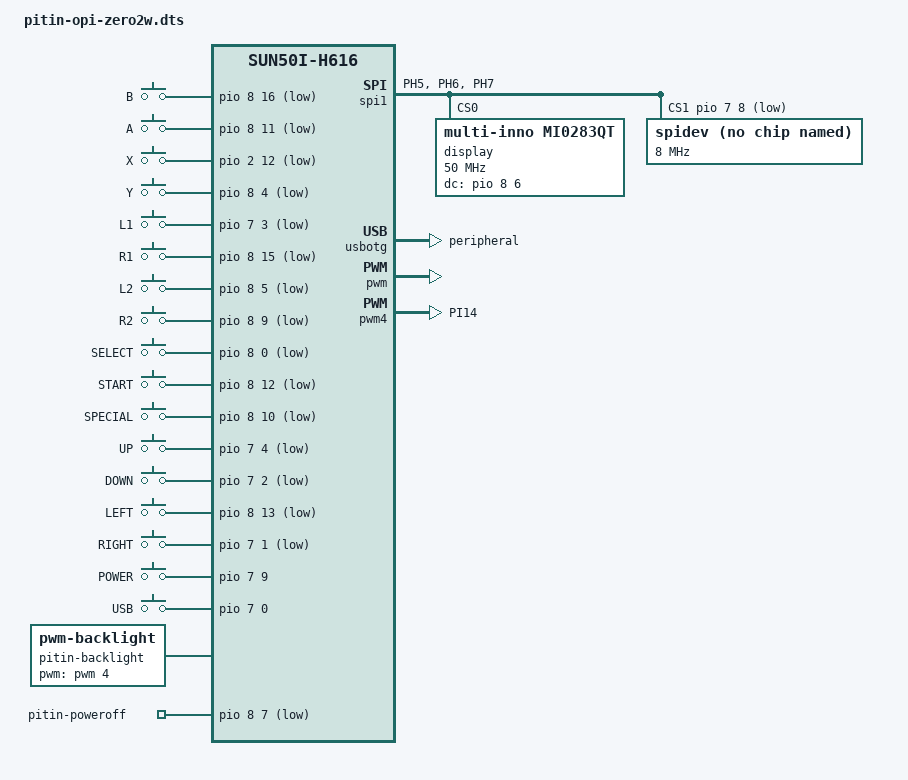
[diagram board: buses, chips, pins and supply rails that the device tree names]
// Pi Tin mod on an Orange Pi Zero 2W (Allwinner H618), Armbian "current" sunxi kernel.
// Device-tree overlay: display, backlight PWM, LED gate, I2S amplifier, buttons, power button,
// power-off and USB cable detect. install.sh compiles it and adds it to the user overlays.
// Needs the Armbian sunxi kernel: its AHUB audio and H616 PWM drivers are not in mainline.
//
// Header pin -> H618 pin (Orange Pi wiringOP table) -> use on the Pi Tin board:
//   5  PI7   power-off output (SHUTDOWN_PS)   16 PI14 backlight (RS/BL), PWM4
//   8  PH0   USB cable detect (USB_PWR)       19 PH7  SPI1 MOSI
//  12  PI1   I2S0 BCLK                        21 PH8  LED gate (LED_CS), SPI1 chip select 1 as GPIO
//  22  PI6   display D/C                      23 PH6  SPI1 CLK
//  24  PH5   SPI1 CS0 (display)               26 PH9  power button (SHUTDOWN_PI)
//  35  PI2   I2S0 LRCK                        40 PI3  I2S0 DOUT0 -> MAX98357A
//  Buttons: 7 LEFT PI13, 10 RIGHT PH1, 11 DOWN PH2, 13 L1 PH3, 15 L2 PI5, 18 UP PH4,
//  27 SPECIAL PI10, 28 R2 PI9, 29 SELECT PI0, 31 R1 PI15, 32 A PI11, 33 START PI12,
//  36 X PC12, 37 B PI16, 38 Y PI4. All pull to GND when pressed (no external pull-ups).
//  Pins 16 and 18 are swapped on this board (upstream: 16 UP, 18 backlight) so the
//  backlight gets a hardware PWM. The shoulder nets are named as seen from the back of
//  the PCB: net R1 (pin 13) is the left shoulder, as in the upstream GPIOnext config.
//
// GPIO specifiers are <&pio bank pin flags>: bank C=2, H=7, I=8; flags 0 = active high, 1 = active low.

/dts-v1/;
/plugin/;

/ {
	compatible = "allwinner,sun50i-h616";

	fragment@0 {
		target = <&pio>;
		__overlay__ {
			pitin_spi1_pins: pitin-spi1-pins {
				pins = "PH5", "PH6", "PH7";	/* CS0, CLK, MOSI. PH8 (MISO) is not muxed: it is the LED gate. */
				function = "spi1";
			};

			pitin_i2s0_pins: pitin-i2s0-pins {
				pins = "PI1", "PI2";		/* BCLK, LRCK. PI0 (MCLK) and PI4 (DIN) are buttons. */
				function = "i2s0";
				drive-strength = <20>;
				bias-disable;
			};

			pitin_i2s0_dout_pin: pitin-i2s0-dout-pin {
				pins = "PI3";
				function = "i2s0_dout0";
				drive-strength = <20>;
				bias-disable;
			};

			pitin_i2s0_sleep_pins: pitin-i2s0-sleep-pins {
				pins = "PI1", "PI2", "PI3";
				function = "gpio_in";
				bias-disable;
			};

			pitin_button_pins: pitin-button-pins {
				pins = "PI13", "PH1", "PH2", "PH3", "PI5", "PH4", "PI10", "PI9",
				       "PI0", "PI15", "PI11", "PI12", "PC12", "PI16", "PI4";
				function = "gpio_in";
				bias-pull-up;
			};

			pitin_pwm4_pin: pitin-pwm4-pin {
				pins = "PI14";			/* backlight MOSFET gate on the display board */
				function = "pwm4";
			};

			pitin_power_pin: pitin-power-pin {
				pins = "PH9";			/* held low by the board while running, released when the button is pressed */
				function = "gpio_in";
				bias-pull-up;
			};

			pitin_usbdet_pin: pitin-usbdet-pin {
				pins = "PH0";			/* VBUS / 2 from R133/R134 */
				function = "gpio_in";
				bias-disable;
			};
		};
	};

	/* UART0 (pins 8/10) is the debug console on this board; the Pi Tin uses those pins
	 * for USB detect and the RIGHT button. */
	fragment@1 {
		target = <&uart0>;
		__overlay__ {
			status = "disabled";
		};
	};

	fragment@2 {
		target = <&spi1>;
		__overlay__ {
			#address-cells = <1>;
			#size-cells = <0>;
			pinctrl-names = "default";
			pinctrl-0 = <&pitin_spi1_pins>;
			cs-gpios = <0>, <&pio 7 8 1>;	/* CS0 native (PH5), CS1 = PH8 as GPIO, active low */
			status = "okay";

			display@0 {
				compatible = "multi-inno,mi0283qt";	/* the panel of the Adafruit 1774 (ILI9341) */
				reg = <0>;
				spi-max-frequency = <50000000>;
				dc-gpios = <&pio 8 6 0>;		/* PI6, pin 22 */
				rotation = <90>;			/* use 270 if the picture is upside down */
			};

			/* LED chain: the 74AHCT1G125 passes MOSI only while CS1 (PH8) is low.
			 * /dev/spidevN.1 is used by pitin_leds.py. */
			spidev@1 {
				compatible = "rohm,dh2228fv";
				reg = <1>;
				spi-max-frequency = <8000000>;
			};
		};
	};

	/* USB-C OTG port (USB0): device mode, for the USB-drive mode. */
	fragment@3 {
		target = <&usbotg>;
		__overlay__ {
			dr_mode = "peripheral";
			status = "okay";
		};
	};

	fragment@4 {
		target-path = "/";
		__overlay__ {
			pitin-gamepad {
				compatible = "gpio-keys";
				label = "Pi Tin Gamepad";
				pinctrl-names = "default";
				pinctrl-0 = <&pitin_button_pins>;

				/* Gamepad codes, so the console (tty) never sees them as typing.
				 * RetroArch numbers them in this order: B 0, A 1, X 2, Y 3, L1 4, R1 5,
				 * L2 6, R2 7, SELECT 8, START 9, SPECIAL 10, UP 11, DOWN 12, LEFT 13, RIGHT 14. */
				b      { label = "B";       gpios = <&pio 8 16 1>; linux,code = <304>; debounce-interval = <10>; }; /* BTN_SOUTH, pin 37 */
				a      { label = "A";       gpios = <&pio 8 11 1>; linux,code = <305>; debounce-interval = <10>; }; /* BTN_EAST, pin 32 */
				x      { label = "X";       gpios = <&pio 2 12 1>; linux,code = <307>; debounce-interval = <10>; }; /* BTN_NORTH, pin 36 */
				y      { label = "Y";       gpios = <&pio 8 4 1>;  linux,code = <308>; debounce-interval = <10>; }; /* BTN_WEST, pin 38 */
				l1     { label = "L1";      gpios = <&pio 7 3 1>;  linux,code = <310>; debounce-interval = <10>; }; /* BTN_TL, pin 13 */
				r1     { label = "R1";      gpios = <&pio 8 15 1>; linux,code = <311>; debounce-interval = <10>; }; /* BTN_TR, pin 31 */
				l2     { label = "L2";      gpios = <&pio 8 5 1>;  linux,code = <312>; debounce-interval = <10>; }; /* BTN_TL2, pin 15 */
				r2     { label = "R2";      gpios = <&pio 8 9 1>;  linux,code = <313>; debounce-interval = <10>; }; /* BTN_TR2, pin 28 */
				select { label = "SELECT";  gpios = <&pio 8 0 1>;  linux,code = <314>; debounce-interval = <10>; }; /* BTN_SELECT, pin 29 */
				start  { label = "START";   gpios = <&pio 8 12 1>; linux,code = <315>; debounce-interval = <10>; }; /* BTN_START, pin 33 */
				special { label = "SPECIAL"; gpios = <&pio 8 10 1>; linux,code = <316>; debounce-interval = <10>; }; /* BTN_MODE, pin 27 */
				up     { label = "UP";      gpios = <&pio 7 4 1>;  linux,code = <544>; debounce-interval = <10>; }; /* BTN_DPAD_UP, pin 18 */
				down   { label = "DOWN";    gpios = <&pio 7 2 1>;  linux,code = <545>; debounce-interval = <10>; }; /* BTN_DPAD_DOWN, pin 11 */
				left   { label = "LEFT";    gpios = <&pio 8 13 1>; linux,code = <546>; debounce-interval = <10>; }; /* BTN_DPAD_LEFT, pin 7 */
				right  { label = "RIGHT";   gpios = <&pio 7 1 1>;  linux,code = <547>; debounce-interval = <10>; }; /* BTN_DPAD_RIGHT, pin 10 */
			};

			pitin-system {
				compatible = "gpio-keys";
				label = "Pi Tin System";
				pinctrl-names = "default";
				pinctrl-0 = <&pitin_power_pin>, <&pitin_usbdet_pin>;

				power {
					label = "POWER";
					gpios = <&pio 7 9 0>;		/* PH9, pin 26, active high */
					linux,code = <116>;		/* KEY_POWER: systemd-logind powers off */
					debounce-interval = <100>;
				};

				usb-detect {
					label = "USB";
					gpios = <&pio 7 0 0>;		/* PH0, pin 8, high while a USB cable is plugged in */
					linux,input-type = <5>;		/* EV_SW */
					linux,code = <6>;		/* SW_USB_INSERT, read by pitin-usbd */
					debounce-interval = <100>;
				};
			};

			/* Screen backlight: /sys/class/backlight/pitin-backlight, set by pitin-daemon.
			 * 20 kHz; without a brightness-levels table the kernel uses a perceptual curve. */
			pitin-backlight {
				compatible = "pwm-backlight";
				pwms = <&pwm 4 50000 0>;
			};

			/* Pin 5 low cuts the Pi Tin's power latch (same as gpio-poweroff on the Pi).
			 * Priority above the firmware (PSCI) handler, so it runs first. */
			pitin-poweroff {
				compatible = "gpio-poweroff";
				gpios = <&pio 8 7 1>;			/* PI7, active low */
				priority = <255>;
			};
		};
	};

	/* I2S0 -> MAX98357A, through the AHUB audio driver of the Armbian kernel. Based on the
	 * overlays reported working on this board on the DietPi forum. */
	fragment@5 {
		target-path = "/soc";
		__overlay__ {
			pitin_ahub_plat: pitin-ahub-plat {
				#sound-dai-cells = <0>;
				compatible = "allwinner,sunxi-snd-plat-ahub";
				apb_num = <0>;
				dmas = <&dma 3>, <&dma 3>;
				dma-names = "tx", "rx";
				playback_cma = <128>;
				capture_cma = <128>;
				tx_fifo_size = <128>;
				rx_fifo_size = <128>;
				tdm_num = <0>;
				tx_pin = <0>;
				rx_pin = <0>;
				pinctrl-names = "default", "sleep";
				pinctrl_used;
				pinctrl-0 = <&pitin_i2s0_pins>, <&pitin_i2s0_dout_pin>;
				pinctrl-1 = <&pitin_i2s0_sleep_pins>;
				status = "okay";
			};

			pitin-ahub-mach {
				compatible = "allwinner,sunxi-snd-mach";
				soundcard-mach,name = "pitin";
				soundcard-mach,format = "i2s";
				soundcard-mach,frame-master = <&pitin_ahub_cpu>;
				soundcard-mach,bitclock-master = <&pitin_ahub_cpu>;
				soundcard-mach,slot-num = <2>;
				soundcard-mach,slot-width = <32>;
				status = "okay";

				pitin_ahub_cpu: soundcard-mach,cpu {
					sound-dai = <&pitin_ahub_plat>;
					soundcard-mach,pll-fs = <4>;
					soundcard-mach,mclk-fs = <0>;
				};

				soundcard-mach,codec {
				};
			};

			hdmi@6000000 {
				status = "disabled";		/* not used in the Pi Tin; as in the working audio overlays */
			};
		};
	};

	/* PWM4 on PI14 (header pin 16), through Armbian's H616 PWM driver (pwm-sunxi-enhance). */
	fragment@6 {
		target = <&pwm>;
		__overlay__ {
			status = "okay";
		};
	};

	fragment@7 {
		target = <&pwm4>;
		__overlay__ {
			pinctrl-names = "default";
			pinctrl-0 = <&pitin_pwm4_pin>;
			status = "okay";
		};
	};
};
